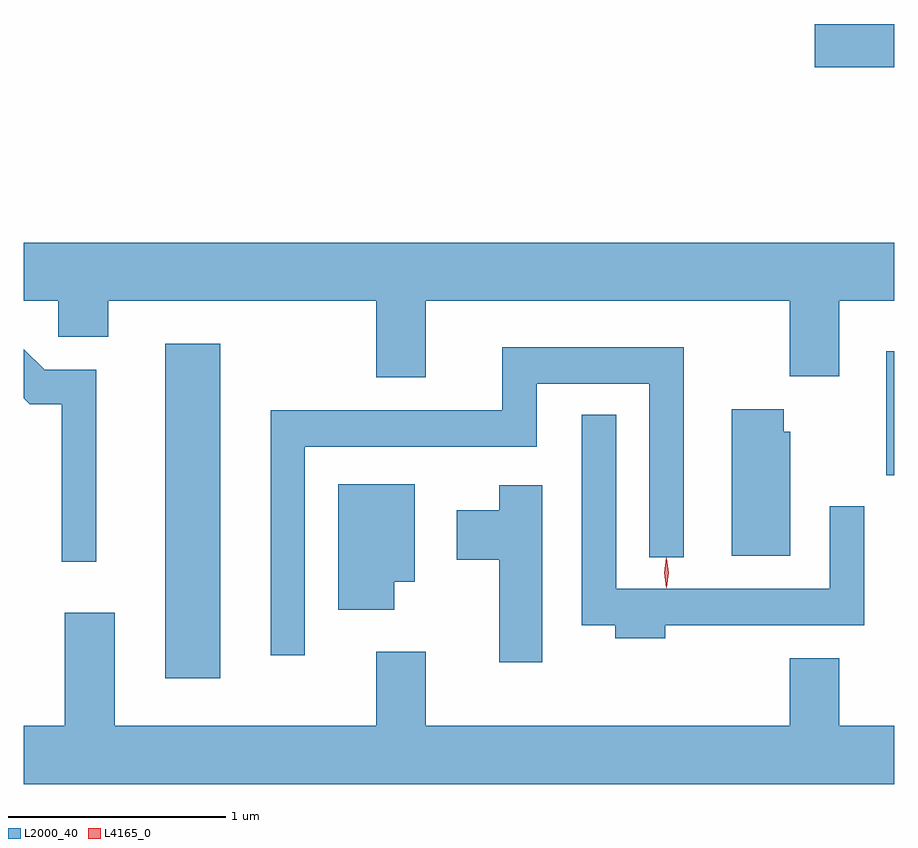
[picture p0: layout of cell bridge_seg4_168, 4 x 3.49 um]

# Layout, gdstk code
import gdstk
lib = gdstk.Library(unit=1e-6, precision=1e-09)
def R(c, l, rs):  # rectangles x0, y0, x1, y1
    for r in rs: c.add(gdstk.rectangle(r[:2], r[2:], *l))
def P(c, l, *ps):  # polygons
    for p in ps: c.add(gdstk.Polygon(p, *l))
L2000_40 = (2000, 40)
L4165_0 = (4165, 0)

bridge_seg4_168 = lib.new_cell('bridge_seg4_168')
R(bridge_seg4_168, L2000_40, [(790.221,1304.101,790.474,1305.639), (793.536,1305.036,793.572,1305.604), (793.206,1306.911,793.572,1307.109)])
P(bridge_seg4_168, L2000_40, [(791.419,1305.836),(793.091,1305.836),(793.091,1305.491),(793.319,1305.491),(793.319,1305.836),(793.572,1305.836),(793.572,1306.104),(789.572,1306.104),(789.572,1305.836),(789.731,1305.836),(789.731,1305.671),(789.959,1305.671),(789.959,1305.836),(791.191,1305.836),(791.191,1305.486),(791.419,1305.486)],
  [(790.864,1305.166),(791.929,1305.166),(791.929,1305.456),(792.446,1305.456),(792.446,1304.658),(792.604,1304.658),(792.604,1305.624),(791.771,1305.624),(791.771,1305.334),(790.706,1305.334),(790.706,1304.208),(790.864,1304.208)],
  [(789.904,1305.519),(789.667,1305.519),(789.572,1305.614),(789.572,1305.388),(789.599,1305.361),(789.746,1305.361),(789.746,1304.638),(789.904,1304.638)],
  [(793.094,1305.234),(793.064,1305.234),(793.064,1305.339),(792.826,1305.339),(792.826,1304.666),(793.094,1304.666)],
  [(792.519,1304.346),(793.434,1304.346),(793.434,1304.893),(793.276,1304.893),(793.276,1304.514),(792.294,1304.514),(792.294,1305.313),(792.136,1305.313),(792.136,1304.346),(792.291,1304.346),(792.291,1304.286),(792.519,1304.286)],
  [(791.274,1304.546),(791.369,1304.546),(791.369,1304.994),(791.016,1304.994),(791.016,1304.416),(791.274,1304.416)],
  [(791.954,1304.989),(791.756,1304.989),(791.756,1304.874),(791.561,1304.874),(791.561,1304.646),(791.756,1304.646),(791.756,1304.176),(791.954,1304.176)],
  [(793.572,1303.884),(793.319,1303.884),(793.319,1304.194),(793.091,1304.194),(793.091,1303.884),(791.419,1303.884),(791.419,1304.224),(791.191,1304.224),(791.191,1303.884),(789.989,1303.884),(789.989,1304.404),(789.761,1304.404),(789.761,1303.884),(789.572,1303.884),(789.572,1303.616),(793.572,1303.616)])
P(bridge_seg4_168, L4165_0, [(792.526,1304.519),(792.525,1304.52),(792.516,1304.586),(792.525,1304.652),(792.526,1304.653),(792.526,1304.652),(792.536,1304.586),(792.526,1304.52)],
  [(792.524,1304.517),(792.515,1304.587),(792.524,1304.656),(792.525,1304.656),(792.525,1304.656),(792.535,1304.587),(792.525,1304.517),(792.525,1304.517)])

lib.write_gds('bridge_seg4_168.gds')
